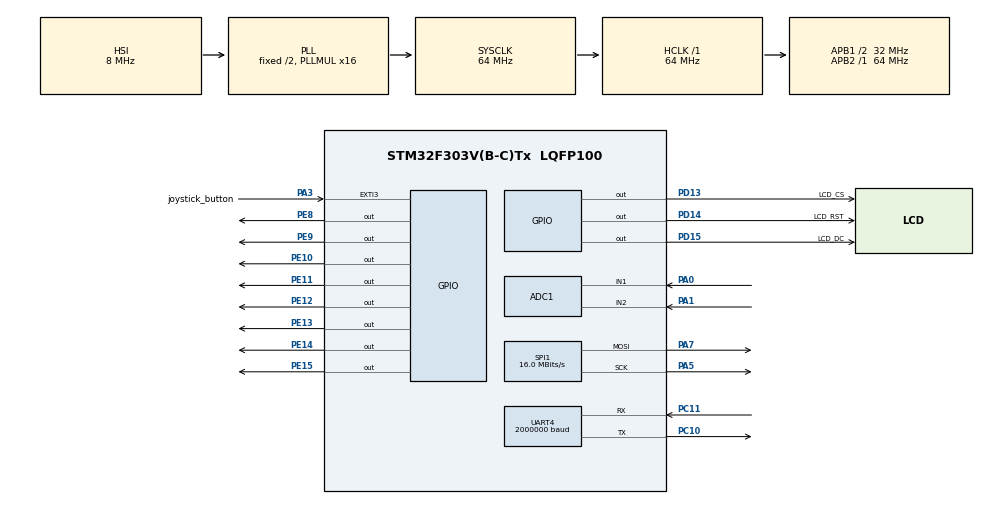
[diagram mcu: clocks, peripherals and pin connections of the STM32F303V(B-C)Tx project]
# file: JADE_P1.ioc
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ADC1.Channel-2\#ChannelRegularConversion=ADC_CHANNEL_1
ADC1.Channel-3\#ChannelRegularConversion=ADC_CHANNEL_2
ADC1.ClockPrescaler=ADC_CLOCK_SYNC_PCLK_DIV4
ADC1.ContinuousConvMode=ENABLE
ADC1.DMAContinuousRequests=ENABLE
ADC1.EOCSelection=ADC_EOC_SEQ_CONV
ADC1.EnableInjectedConversion=DISABLE
ADC1.NbrOfConversion=2
ADC1.NbrOfConversionFlag=1
ADC1.Offset-2\#ChannelRegularConversion=0
ADC1.Offset-3\#ChannelRegularConversion=0
ADC1.OffsetNumber-2\#ChannelRegularConversion=ADC_OFFSET_NONE
ADC1.OffsetNumber-3\#ChannelRegularConversion=ADC_OFFSET_NONE
ADC1.Rank-2\#ChannelRegularConversion=1
ADC1.Rank-3\#ChannelRegularConversion=2
ADC1.SamplingTime-2\#ChannelRegularConversion=ADC_SAMPLETIME_601CYCLES_5
ADC1.SamplingTime-3\#ChannelRegularConversion=ADC_SAMPLETIME_601CYCLES_5
ADC1.SamplingTimeOPAMP-3\#ChannelRegularConversion=ADC_SAMPLETIME_7CYCLES_5
ADC1.master=1
Dma.ADC1.0.Direction=DMA_PERIPH_TO_MEMORY
Dma.ADC1.0.Instance=DMA1_Channel1
Dma.ADC1.0.MemDataAlignment=DMA_MDATAALIGN_HALFWORD
Dma.ADC1.0.MemInc=DMA_MINC_ENABLE
Dma.ADC1.0.Mode=DMA_CIRCULAR
Dma.ADC1.0.PeriphDataAlignment=DMA_PDATAALIGN_HALFWORD
Dma.ADC1.0.PeriphInc=DMA_PINC_DISABLE
Dma.ADC1.0.Priority=DMA_PRIORITY_LOW
Dma.Request0=ADC1
Dma.Request1=UART4_RX
Dma.Request2=SPI1_TX
Dma.SPI1_TX.2.Direction=DMA_MEMORY_TO_PERIPH
Dma.SPI1_TX.2.Instance=DMA1_Channel3
Dma.SPI1_TX.2.MemDataAlignment=DMA_MDATAALIGN_BYTE
Dma.SPI1_TX.2.MemInc=DMA_MINC_ENABLE
Dma.SPI1_TX.2.Mode=DMA_CIRCULAR
Dma.SPI1_TX.2.PeriphDataAlignment=DMA_PDATAALIGN_BYTE
Dma.SPI1_TX.2.PeriphInc=DMA_PINC_DISABLE
Dma.SPI1_TX.2.Priority=DMA_PRIORITY_LOW
Dma.UART4_RX.1.Direction=DMA_PERIPH_TO_MEMORY
Dma.UART4_RX.1.Instance=DMA2_Channel3
Dma.UART4_RX.1.MemDataAlignment=DMA_MDATAALIGN_BYTE
Dma.UART4_RX.1.MemInc=DMA_MINC_ENABLE
Dma.UART4_RX.1.Mode=DMA_CIRCULAR
Dma.UART4_RX.1.PeriphDataAlignment=DMA_PDATAALIGN_BYTE
Dma.UART4_RX.1.PeriphInc=DMA_PINC_DISABLE
Dma.UART4_RX.1.Priority=DMA_PRIORITY_LOW
Mcu.Family=STM32F3
Mcu.Name=STM32F303V(B-C)Tx
Mcu.Package=LQFP100
NVIC.DMA1_Channel1_IRQn=true\:0\:0\:false\:false\:true\:false\:true\:true
NVIC.DMA1_Channel3_IRQn=true\:0\:0\:false\:false\:true\:false\:true\:true
NVIC.DMA2_Channel3_IRQn=true\:0\:0\:false\:false\:true\:false\:true\:true
NVIC.EXTI3_IRQn=true\:0\:0\:false\:false\:true\:true\:true\:true
NVIC.PriorityGroup=NVIC_PRIORITYGROUP_0
PA0.Mode=IN1-Single-Ended
PA0.Signal=ADC1_IN1
PA1.Mode=IN2-Single-Ended
PA1.Signal=ADC1_IN2
PA3.GPIO_Label=joystick_button
PA3.GPIO_ModeDefaultEXTI=GPIO_MODE_IT_RISING_FALLING
PA3.GPIO_PuPd=GPIO_PULLUP
PA3.Signal=GPXTI3
PA5.Mode=TX_Only_Simplex_Unidirect_Master
PA5.Signal=SPI1_SCK
PA7.Mode=TX_Only_Simplex_Unidirect_Master
PA7.Signal=SPI1_MOSI
PC10.Mode=Asynchronous
PC10.Signal=UART4_TX
PC11.Mode=Asynchronous
PC11.Signal=UART4_RX
PD13.GPIO_Label=LCD_CS
PD13.Signal=GPIO_Output
PD14.GPIO_Label=LCD_RST
PD14.Signal=GPIO_Output
PD15.GPIO_Label=LCD_DC
PD15.Signal=GPIO_Output
PE10.Signal=GPIO_Output
PE11.Signal=GPIO_Output
PE12.Signal=GPIO_Output
PE13.Signal=GPIO_Output
PE14.Signal=GPIO_Output
PE15.Signal=GPIO_Output
PE8.Signal=GPIO_Output
PE9.Signal=GPIO_Output
ProjectManager.HeapSize=0x200
ProjectManager.StackSize=0x400
ProjectManager.TargetToolchain=STM32CubeIDE
RCC.AHBFreq_Value=64000000
RCC.APB1CLKDivider=RCC_HCLK_DIV2
RCC.APB1Freq_Value=32000000
RCC.APB1TimFreq_Value=64000000
RCC.APB2Freq_Value=64000000
RCC.APB2TimFreq_Value=64000000
RCC.CortexFreq_Value=64000000
RCC.HCLKFreq_Value=64000000
RCC.HSE_VALUE=8000000
RCC.HSI_VALUE=8000000
RCC.LSE_VALUE=32768
RCC.PLLMUL=RCC_PLL_MUL16
RCC.SYSCLKFreq_VALUE=64000000
RCC.SYSCLKSourceVirtual=RCC_SYSCLKSOURCE_PLLCLK
RCC.USBFreq_Value=64000000
SPI1.BaudRatePrescaler=SPI_BAUDRATEPRESCALER_4
SPI1.CalculateBaudRate=16.0 MBits/s
SPI1.DataSize=SPI_DATASIZE_8BIT
SPI1.Direction=SPI_DIRECTION_2LINES
SPI1.Mode=SPI_MODE_MASTER
SPI1.VirtualType=VM_MASTER
UART4.BaudRate=2000000
board=STM32F3DISCOVERY

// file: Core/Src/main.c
/* USER CODE BEGIN Header */
/**
 ******************************************************************************
 * @file           : main.c
 * @brief          : Main program body
 ******************************************************************************
 * @attention
 *
 * Copyright (c) 2026 STMicroelectronics.
 * All rights reserved.
 *
 * This software is licensed under terms that can be found in the LICENSE file
 * in the root directory of this software component.
 * If no LICENSE file comes with this software, it is provided AS-IS.
 *
 ******************************************************************************
 */
/* USER CODE END Header */
#include "main.h"

/* USER CODE BEGIN Includes */
#include <math.h>
#include <stdio.h>
#include <string.h>
//#include <tjpgd.h>
//#include <tjpgdcnf.h>
/* USER CODE END Includes */

/* USER CODE BEGIN PM */
#define CS_LOW()    HAL_GPIO_WritePin(LCD_CS_GPIO_Port, LCD_CS_Pin, GPIO_PIN_RESET)
#define CS_HIGH()   HAL_GPIO_WritePin(LCD_CS_GPIO_Port, LCD_CS_Pin, GPIO_PIN_SET)
#define DC_CMD()    HAL_GPIO_WritePin(LCD_DC_GPIO_Port, LCD_DC_Pin, GPIO_PIN_RESET)
#define DC_DATA()   HAL_GPIO_WritePin(LCD_DC_GPIO_Port, LCD_DC_Pin, GPIO_PIN_SET)

// Colori di base in RGB565
#define COLOR_RED   0xF800
#define COLOR_GREEN 0x07E0
#define COLOR_BLUE  0x001F
#define COLOR_BLACK 0x0000

#define BATCH_LINES 10 //originally 20
#define BATCH_SIZE (480 * BATCH_LINES)  // 9600 pixels = 19200 bytes
#define LCD_WIDTH  480
#define LCD_HEIGHT 320

#define UART_RX_DMA_SIZE 1024

/* USER CODE END PM */

ADC_HandleTypeDef hadc1;
DMA_HandleTypeDef hdma_adc1;

SPI_HandleTypeDef hspi1;
DMA_HandleTypeDef hdma_spi1_tx;

UART_HandleTypeDef huart4;
DMA_HandleTypeDef hdma_uart4_rx;

void SystemClock_Config(void);
static void MX_GPIO_Init(void);
static void MX_DMA_Init(void);
static void MX_ADC1_Init(void);
static void MX_UART4_Init(void);
static void MX_SPI1_Init(void);
/* USER CODE BEGIN PFP */
/* LCD driver functions */
static void LCD_WriteCmd(uint8_t cmd);
static void LCD_WriteData(uint8_t data);
static void LCD_SetWindow(uint16_t x0, uint16_t y0, uint16_t x1, uint16_t y1);
static void LCD_FillScreen_DMA(uint16_t color);
static void swap_buffers(void);
/* USER CODE END PFP */

/* USER CODE BEGIN 0 */
/* Double-buffer system for DMA transfers */
uint16_t frame_buffer1[BATCH_SIZE];
uint16_t frame_buffer2[BATCH_SIZE];
volatile uint16_t *active_buffer = frame_buffer1;
volatile uint16_t *pending_buffer = frame_buffer2;
volatile uint8_t dma_ready = 1;
volatile uint8_t dma_in_progress = 0;

/* Joystick and control variables */
uint16_t joystickdata[2];
uint8_t flash_mode = 0;
uint16_t discovery_leds[] = {GPIO_PIN_9, GPIO_PIN_10, GPIO_PIN_11, GPIO_PIN_12,
                             GPIO_PIN_13, GPIO_PIN_14, GPIO_PIN_15, GPIO_PIN_8};

uint8_t uart_rx_dma_buffer[UART_RX_DMA_SIZE];

char uart_buf[50];
int buf_len;

/**
 * @brief SPI DMA Transfer Complete Callback
 * Called when DMA finishes sending a batch of pixels
 */
void HAL_SPI_TxCpltCallback(SPI_HandleTypeDef *hspi)
{
    if (hspi->Instance == SPI1) {
        dma_ready = 1;
    }
}

/**
 * @brief UART RX DMA Complete Callback (buffer full)
 * Called when 1024 bytes received
 */
void HAL_UART_RxCpltCallback(UART_HandleTypeDef *huart)
{
    if (huart->Instance == UART4) {
        /* 1024 bytes received - process data */
        /* uart_rx_dma_buffer contains 1024 bytes of data */

        /* TODO: Process received data here */

        /* Restart DMA for next chunk */
        HAL_UART_Receive_DMA(&huart4, uart_rx_dma_buffer, UART_RX_DMA_SIZE);
    }
}

void HAL_GPIO_EXTI_Callback(uint16_t GPIO_Pin)
{
 if(GPIO_Pin == joystick_button_Pin)
 {
   if (HAL_GPIO_ReadPin(joystick_button_GPIO_Port, joystick_button_Pin) == GPIO_PIN_RESET)
   {
     flash_mode=1;
   }
   else
   {
     flash_mode=0;
   }
 }
}

/* ============================================================================ */
/* LCD DRIVER FUNCTIONS                                                       */
/* ============================================================================ */
/**
* @brief Send command byte to LCD
*/
static void LCD_WriteCmd(uint8_t cmd)
{
   DC_CMD();
   CS_LOW();
   HAL_SPI_Transmit(&hspi1, &cmd, 1, HAL_MAX_DELAY);
   CS_HIGH();
}

/**
* @brief Send data byte to LCD
*/
static void LCD_WriteData(uint8_t data)
{
   DC_DATA();
   CS_LOW();
   HAL_SPI_Transmit(&hspi1, &data, 1, HAL_MAX_DELAY);
   CS_HIGH();
}

/**
* @brief Set the drawable window in LCD GRAM
*/
static void LCD_SetWindow(uint16_t x0, uint16_t y0, uint16_t x1, uint16_t y1)
{
   LCD_WriteCmd(0x2A);
   LCD_WriteData(x0 >> 8);
   LCD_WriteData(x0 & 0xFF);
   LCD_WriteData(x1 >> 8);
   LCD_WriteData(x1 & 0xFF);
   LCD_WriteCmd(0x2B);
   LCD_WriteData(y0 >> 8);
   LCD_WriteData(y0 & 0xFF);
   LCD_WriteData(y1 >> 8);
   LCD_WriteData(y1 & 0xFF);
   LCD_WriteCmd(0x2C);
}

/**
* @brief Swap active and pending frame buffers
*/
static void swap_buffers(void)
{
   volatile uint16_t *temp = active_buffer;
   active_buffer = pending_buffer;
   pending_buffer = temp;
}

/**
* @brief Fill entire screen with color using DMA
* Optimized for speed with minimal CPU overhead
*/
static void LCD_FillScreen_DMA(uint16_t color)
{
   /* Pre-fill the pending buffer */
   for (int i = 0; i < BATCH_SIZE; i++) {
       pending_buffer[i] = color;
   }
   /* Set drawing window to entire screen */
   LCD_SetWindow(0, 0, LCD_WIDTH - 1, LCD_HEIGHT - 1);
   DC_DATA();
   int total_pixels = LCD_WIDTH * LCD_HEIGHT;
   int pixels_sent = 0;
   while (pixels_sent < total_pixels) {
       int current_batch = BATCH_SIZE;
       /* Handle final partial batch */
       if (pixels_sent + current_batch > total_pixels) {
           current_batch = total_pixels - pixels_sent;
       }
       /* Wait for previous DMA transfer to complete */
       while (!dma_ready);
       dma_ready = 0;
       /* Start DMA transfer with active buffer */
       CS_LOW();
       HAL_SPI_Transmit_DMA(&hspi1, (uint8_t*)active_buffer, current_batch * 2);
       /* Swap buffers for next iteration */
       swap_buffers();
       pixels_sent += current_batch;
   }
   /* Wait for final transfer to complete */
   while (!dma_ready);
   CS_HIGH();
}
/* USER CODE END 0 */

int main(void)
{

  /* MCU Configuration--------------------------------------------------------*/

  /* Reset of all peripherals, Initializes the Flash interface and the Systick. */
  HAL_Init();

  /* Configure the system clock */
  SystemClock_Config();

  /* Initialize all configured peripherals */
  MX_GPIO_Init();
  MX_DMA_Init();
  MX_ADC1_Init();
  MX_UART4_Init();
  MX_SPI1_Init();
  /* USER CODE BEGIN 2 */
  HAL_ADCEx_Calibration_Start(&hadc1, ADC_SINGLE_ENDED);
  HAL_ADC_Start_DMA(&hadc1, (uint32_t*)joystickdata, 2);
  HAL_GPIO_WritePin(LCD_RST_GPIO_Port, LCD_RST_Pin, GPIO_PIN_RESET);
  HAL_Delay(50); // Aspetta 50 millisecondi
  HAL_GPIO_WritePin(LCD_RST_GPIO_Port, LCD_RST_Pin, GPIO_PIN_SET);
  HAL_Delay(150); // Il display ha bisogno di tempo per riavviarsi
  // 2. Inizializzazione base del controller (tipica per ILI9486)
  LCD_WriteCmd(0x11); // Sleep OUT
  HAL_Delay(120);
  LCD_WriteCmd(0x3A); // Interface Pixel Format
  LCD_WriteData(0x55); // 16-bit per pixel (RGB565)
  LCD_WriteCmd(0x36); // Memory Access Control (Rotazione)
  LCD_WriteData(0x28); // Modalità Landscape
  LCD_WriteCmd(0x29); // Display ON
  HAL_Delay(50);
  // 3. IL TEST FINALE!
  // Riempiamo lo schermo di rosso
  LCD_FillScreen_DMA(COLOR_RED);

  HAL_UART_Receive_DMA(&huart4, uart_rx_dma_buffer, UART_RX_DMA_SIZE);

  /* USER CODE END 2 */

  /* Infinite loop */
  while (1)
  {

    /* USER CODE BEGIN 3 */
	  /* Always clear LEDs first */
	  GPIOE->ODR &= ~0xFF00;

	  if (flash_mode) {
		  GPIOE->ODR |= 0xFF00;  /* All LEDs on */
	  } else {
		  float x = (float)joystickdata[0] - 2048.0f;
		  float y = (float)joystickdata[1] - 2048.0f;

		  if ((x * x + y * y) > 500000.0f) {
			  float angle = atan2f(y, x) * 180.0f / 3.14159265f;
			  if (angle < 0.0f) angle += 360.0f;

			  int led_index = (int)((angle + 22.5f) / 45.0f) % 8;
			  HAL_GPIO_WritePin(GPIOE, discovery_leds[led_index], GPIO_PIN_SET);
		  }
	  }

	  buf_len = sprintf(uart_buf, "%u,%u\n", joystickdata[0], joystickdata[1]);
	  HAL_UART_Transmit(&huart4, (uint8_t*)uart_buf, buf_len);

  }
  /* USER CODE END 3 */
}

void SystemClock_Config(void)
{
  RCC_OscInitTypeDef RCC_OscInitStruct = {0};
  RCC_ClkInitTypeDef RCC_ClkInitStruct = {0};
  RCC_PeriphCLKInitTypeDef PeriphClkInit = {0};

  /** Initializes the RCC Oscillators according to the specified parameters
  * in the RCC_OscInitTypeDef structure.
  */
  RCC_OscInitStruct.OscillatorType = RCC_OSCILLATORTYPE_HSI;
  RCC_OscInitStruct.HSIState = RCC_HSI_ON;
  RCC_OscInitStruct.HSICalibrationValue = RCC_HSICALIBRATION_DEFAULT;
  RCC_OscInitStruct.PLL.PLLState = RCC_PLL_ON;
  RCC_OscInitStruct.PLL.PLLSource = RCC_PLLSOURCE_HSI;
  RCC_OscInitStruct.PLL.PLLMUL = RCC_PLL_MUL16;
  if (HAL_RCC_OscConfig(&RCC_OscInitStruct) != HAL_OK)
  {
    Error_Handler();
  }

  /** Initializes the CPU, AHB and APB buses clocks
  */
  RCC_ClkInitStruct.ClockType = RCC_CLOCKTYPE_HCLK|RCC_CLOCKTYPE_SYSCLK
                              |RCC_CLOCKTYPE_PCLK1|RCC_CLOCKTYPE_PCLK2;
  RCC_ClkInitStruct.SYSCLKSource = RCC_SYSCLKSOURCE_PLLCLK;
  RCC_ClkInitStruct.AHBCLKDivider = RCC_SYSCLK_DIV1;
  RCC_ClkInitStruct.APB1CLKDivider = RCC_HCLK_DIV2;
  RCC_ClkInitStruct.APB2CLKDivider = RCC_HCLK_DIV1;

  if (HAL_RCC_ClockConfig(&RCC_ClkInitStruct, FLASH_LATENCY_2) != HAL_OK)
  {
    Error_Handler();
  }
  PeriphClkInit.PeriphClockSelection = RCC_PERIPHCLK_UART4;
  PeriphClkInit.Uart4ClockSelection = RCC_UART4CLKSOURCE_PCLK1;
  if (HAL_RCCEx_PeriphCLKConfig(&PeriphClkInit) != HAL_OK)
  {
    Error_Handler();
  }
}

static void MX_ADC1_Init(void)
{

  ADC_MultiModeTypeDef multimode = {0};
  ADC_ChannelConfTypeDef sConfig = {0};

  /** Common config
  */
  hadc1.Instance = ADC1;
  hadc1.Init.ClockPrescaler = ADC_CLOCK_SYNC_PCLK_DIV4;
  hadc1.Init.Resolution = ADC_RESOLUTION_12B;
  hadc1.Init.ScanConvMode = ADC_SCAN_ENABLE;
  hadc1.Init.ContinuousConvMode = ENABLE;
  hadc1.Init.DiscontinuousConvMode = DISABLE;
  hadc1.Init.ExternalTrigConvEdge = ADC_EXTERNALTRIGCONVEDGE_NONE;
  hadc1.Init.ExternalTrigConv = ADC_SOFTWARE_START;
  hadc1.Init.DataAlign = ADC_DATAALIGN_RIGHT;
  hadc1.Init.NbrOfConversion = 2;
  hadc1.Init.DMAContinuousRequests = ENABLE;
  hadc1.Init.EOCSelection = ADC_EOC_SEQ_CONV;
  hadc1.Init.LowPowerAutoWait = DISABLE;
  hadc1.Init.Overrun = ADC_OVR_DATA_OVERWRITTEN;
  if (HAL_ADC_Init(&hadc1) != HAL_OK)
  {
    Error_Handler();
  }

  /** Configure the ADC multi-mode
  */
  multimode.Mode = ADC_MODE_INDEPENDENT;
  if (HAL_ADCEx_MultiModeConfigChannel(&hadc1, &multimode) != HAL_OK)
  {
    Error_Handler();
  }

  /** Configure Regular Channel
  */
  sConfig.Channel = ADC_CHANNEL_1;
  sConfig.Rank = ADC_REGULAR_RANK_1;
  sConfig.SingleDiff = ADC_SINGLE_ENDED;
  sConfig.SamplingTime = ADC_SAMPLETIME_601CYCLES_5;
  sConfig.OffsetNumber = ADC_OFFSET_NONE;
  sConfig.Offset = 0;
  if (HAL_ADC_ConfigChannel(&hadc1, &sConfig) != HAL_OK)
  {
    Error_Handler();
  }

  /** Configure Regular Channel
  */
  sConfig.Channel = ADC_CHANNEL_2;
  sConfig.Rank = ADC_REGULAR_RANK_2;
  if (HAL_ADC_ConfigChannel(&hadc1, &sConfig) != HAL_OK)
  {
    Error_Handler();
  }

}

static void MX_SPI1_Init(void)
{

  /* SPI1 parameter configuration*/
  hspi1.Instance = SPI1;
  hspi1.Init.Mode = SPI_MODE_MASTER;
  hspi1.Init.Direction = SPI_DIRECTION_2LINES;
  hspi1.Init.DataSize = SPI_DATASIZE_8BIT;
  hspi1.Init.CLKPolarity = SPI_POLARITY_LOW;
  hspi1.Init.CLKPhase = SPI_PHASE_1EDGE;
  hspi1.Init.NSS = SPI_NSS_SOFT;
  hspi1.Init.BaudRatePrescaler = SPI_BAUDRATEPRESCALER_4;
  hspi1.Init.FirstBit = SPI_FIRSTBIT_MSB;
  hspi1.Init.TIMode = SPI_TIMODE_DISABLE;
  hspi1.Init.CRCCalculation = SPI_CRCCALCULATION_DISABLE;
  hspi1.Init.CRCPolynomial = 7;
  hspi1.Init.CRCLength = SPI_CRC_LENGTH_DATASIZE;
  hspi1.Init.NSSPMode = SPI_NSS_PULSE_ENABLE;
  if (HAL_SPI_Init(&hspi1) != HAL_OK)
  {
    Error_Handler();
  }

}

static void MX_UART4_Init(void)
{

  huart4.Instance = UART4;
  huart4.Init.BaudRate = 2000000;
  huart4.Init.WordLength = UART_WORDLENGTH_8B;
  huart4.Init.StopBits = UART_STOPBITS_1;
  huart4.Init.Parity = UART_PARITY_NONE;
  huart4.Init.Mode = UART_MODE_TX_RX;
  huart4.Init.HwFlowCtl = UART_HWCONTROL_NONE;
  huart4.Init.OverSampling = UART_OVERSAMPLING_16;
  huart4.Init.OneBitSampling = UART_ONE_BIT_SAMPLE_DISABLE;
  huart4.AdvancedInit.AdvFeatureInit = UART_ADVFEATURE_NO_INIT;
  if (HAL_UART_Init(&huart4) != HAL_OK)
  {
    Error_Handler();
  }

}

static void MX_DMA_Init(void)
{

  /* DMA controller clock enable */
  __HAL_RCC_DMA1_CLK_ENABLE();
  __HAL_RCC_DMA2_CLK_ENABLE();

  /* DMA interrupt init */
  /* DMA1_Channel1_IRQn interrupt configuration */
  HAL_NVIC_SetPriority(DMA1_Channel1_IRQn, 0, 0);
  HAL_NVIC_EnableIRQ(DMA1_Channel1_IRQn);
  /* DMA1_Channel3_IRQn interrupt configuration */
  HAL_NVIC_SetPriority(DMA1_Channel3_IRQn, 0, 0);
  HAL_NVIC_EnableIRQ(DMA1_Channel3_IRQn);
  /* DMA2_Channel3_IRQn interrupt configuration */
  HAL_NVIC_SetPriority(DMA2_Channel3_IRQn, 0, 0);
  HAL_NVIC_EnableIRQ(DMA2_Channel3_IRQn);

}

static void MX_GPIO_Init(void)
{
  GPIO_InitTypeDef GPIO_InitStruct = {0};

  /* GPIO Ports Clock Enable */
  __HAL_RCC_GPIOA_CLK_ENABLE();
  __HAL_RCC_GPIOE_CLK_ENABLE();
  __HAL_RCC_GPIOD_CLK_ENABLE();
  __HAL_RCC_GPIOC_CLK_ENABLE();

  /*Configure GPIO pin Output Level */
  HAL_GPIO_WritePin(GPIOE, GPIO_PIN_8|GPIO_PIN_9|GPIO_PIN_10|GPIO_PIN_11
                          |GPIO_PIN_12|GPIO_PIN_13|GPIO_PIN_14|GPIO_PIN_15, GPIO_PIN_RESET);

  /*Configure GPIO pin Output Level */
  HAL_GPIO_WritePin(GPIOD, LCD_CS_Pin|LCD_RST_Pin|LCD_DC_Pin, GPIO_PIN_RESET);

  /*Configure GPIO pin : joystick_button_Pin */
  GPIO_InitStruct.Pin = joystick_button_Pin;
  GPIO_InitStruct.Mode = GPIO_MODE_IT_RISING_FALLING;
  GPIO_InitStruct.Pull = GPIO_PULLUP;
  HAL_GPIO_Init(joystick_button_GPIO_Port, &GPIO_InitStruct);

  /*Configure GPIO pins : PE8 PE9 PE10 PE11
                           PE12 PE13 PE14 PE15 */
  GPIO_InitStruct.Pin = GPIO_PIN_8|GPIO_PIN_9|GPIO_PIN_10|GPIO_PIN_11
                          |GPIO_PIN_12|GPIO_PIN_13|GPIO_PIN_14|GPIO_PIN_15;
  GPIO_InitStruct.Mode = GPIO_MODE_OUTPUT_PP;
  GPIO_InitStruct.Pull = GPIO_NOPULL;
  GPIO_InitStruct.Speed = GPIO_SPEED_FREQ_LOW;
  HAL_GPIO_Init(GPIOE, &GPIO_InitStruct);

  /*Configure GPIO pins : LCD_CS_Pin LCD_RST_Pin LCD_DC_Pin */
  GPIO_InitStruct.Pin = LCD_CS_Pin|LCD_RST_Pin|LCD_DC_Pin;
  GPIO_InitStruct.Mode = GPIO_MODE_OUTPUT_PP;
  GPIO_InitStruct.Pull = GPIO_NOPULL;
  GPIO_InitStruct.Speed = GPIO_SPEED_FREQ_LOW;
  HAL_GPIO_Init(GPIOD, &GPIO_InitStruct);

  /* EXTI interrupt init*/
  HAL_NVIC_SetPriority(EXTI3_IRQn, 0, 0);
  HAL_NVIC_EnableIRQ(EXTI3_IRQn);

}

void Error_Handler(void)
{
 __disable_irq();
 while (1)
 {
 }
}
